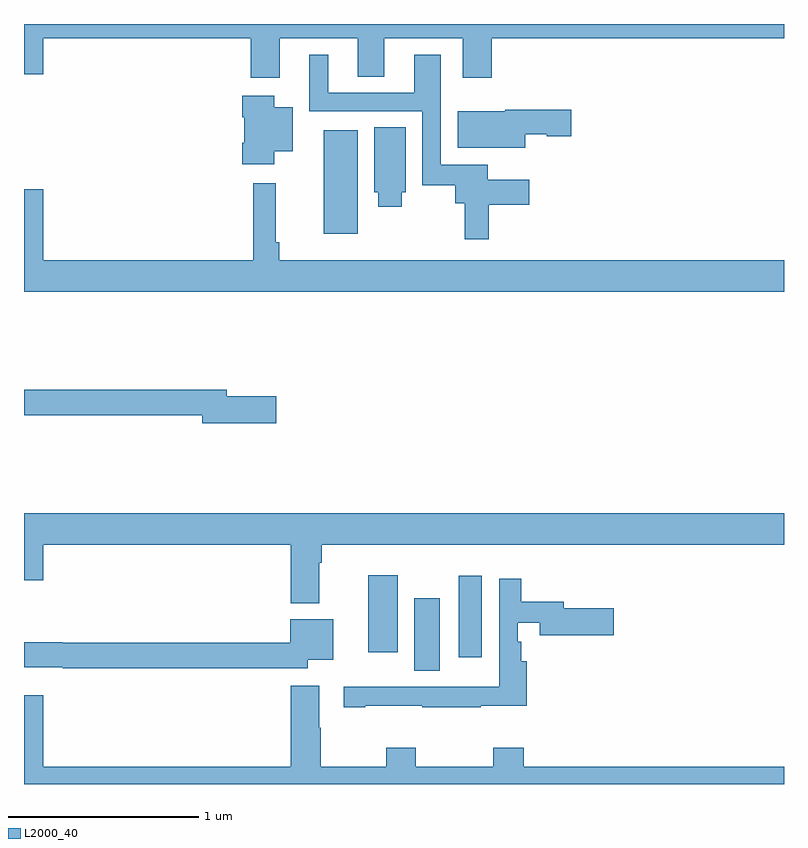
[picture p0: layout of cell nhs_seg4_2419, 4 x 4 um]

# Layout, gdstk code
import gdstk
lib = gdstk.Library(unit=1e-6, precision=1e-09)
def R(c, l, rs):  # rectangles x0, y0, x1, y1
    for r in rs: c.add(gdstk.rectangle(r[:2], r[2:], *l))
def P(c, l, *ps):  # polygons
    for p in ps: c.add(gdstk.Polygon(p, *l))
L2000_40 = (2000, 40)

nhs_seg4_2419 = lib.new_cell('nhs_seg4_2419')
R(nhs_seg4_2419, L2000_40, [(239.054,789.496,239.188,789.877), (239.288,789.567,239.41,789.997), (238.811,789.594,238.966,790), (238.577,791.795,238.756,792.34)])
P(nhs_seg4_2419, L2000_40, [(238.345,792.824),(238.757,792.824),(238.757,792.622),(238.897,792.622),(238.897,792.824),(239.309,792.824),(239.309,792.618),(239.462,792.618),(239.462,792.824),(241,792.824),(241,792.9),(237,792.9),(237,792.636),(237.1,792.636),(237.1,792.824),(238.193,792.824),(238.193,792.618),(238.345,792.618)],
  [(239.447,791.95),(239.659,791.95),(239.659,792.079),(239.441,792.079),(239.441,792.159),(239.193,792.159),(239.193,792.739),(239.054,792.739),(239.054,792.537),(238.6,792.537),(238.6,792.739),(238.502,792.739),(238.502,792.441),(239.097,792.441),(239.097,792.051),(239.27,792.051),(239.27,791.957),(239.319,791.957),(239.319,791.766),(239.447,791.766)],
  [(238.318,792.23),(238.414,792.23),(238.414,792.463),(238.318,792.463),(238.318,792.523),(238.148,792.523),(238.148,792.41),(238.16,792.41),(238.16,792.274),(238.148,792.274),(238.148,792.162),(238.318,792.162)],
  [(239.638,792.32),(239.751,792.32),(239.751,792.308),(239.881,792.308),(239.881,792.45),(239.534,792.45),(239.534,792.442),(239.282,792.442),(239.282,792.248),(239.638,792.248)],
  [(238.987,792.015),(239.008,792.015),(239.008,792.356),(238.844,792.356),(238.844,792.015),(238.865,792.015),(238.865,791.939),(238.987,791.939)],
  [(241,791.656),(238.343,791.656),(238.343,791.752),(238.326,791.752),(238.326,792.061),(238.207,792.061),(238.207,791.656),(237.1,791.656),(237.1,792.031),(237,792.031),(237,791.492),(241,791.492)],
  [(238.327,790.94),(238.066,790.94),(238.066,790.976),(237,790.976),(237,790.84),(237.938,790.84),(237.938,790.798),(238.327,790.798)],
  [(238.555,790.064),(238.568,790.064),(238.568,790.16),(241,790.16),(241,790.324),(237,790.324),(237,789.972),(237.1,789.972),(237.1,790.16),(238.403,790.16),(238.403,789.851),(238.555,789.851)],
  [(238.795,789.313),(239.095,789.313),(239.095,789.303),(239.405,789.303),(239.405,789.313),(239.645,789.313),(239.645,789.547),(239.618,789.547),(239.618,789.648),(239.598,789.648),(239.598,789.749),(239.714,789.749),(239.714,789.683),(240.103,789.683),(240.103,789.825),(239.842,789.825),(239.842,789.859),(239.618,789.859),(239.618,789.979),(239.502,789.979),(239.502,789.412),(239.292,789.412),(239.292,789.411),(238.958,789.411),(238.958,789.413),(238.683,789.413),(238.683,789.303),(238.795,789.303)],
  [(238.494,789.554),(238.627,789.554),(238.627,789.766),(238.4,789.766),(238.4,789.644),(237.204,789.644),(237.204,789.645),(237,789.645),(237,789.515),(237.204,789.515),(237.204,789.508),(238.494,789.508)],
  [(241,788.992),(239.63,788.992),(239.63,789.091),(239.47,789.091),(239.47,788.992),(239.061,788.992),(239.061,789.091),(238.906,789.091),(238.906,788.992),(238.563,788.992),(238.563,789.197),(238.555,789.197),(238.555,789.418),(238.403,789.418),(238.403,788.992),(237.1,788.992),(237.1,789.367),(237,789.367),(237,788.9),(241,788.9)])

lib.write_gds('nhs_seg4_2419.gds')
